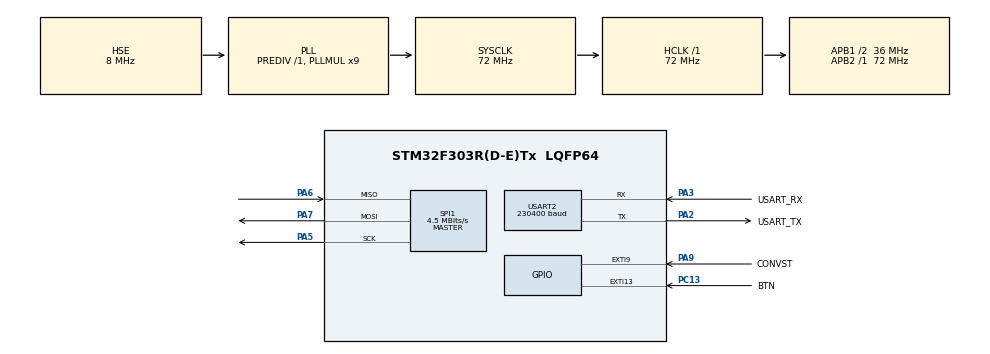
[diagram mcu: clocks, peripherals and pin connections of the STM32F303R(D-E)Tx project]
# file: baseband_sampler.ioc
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Mcu.Family=STM32F3
Mcu.Name=STM32F303R(D-E)Tx
Mcu.Package=LQFP64
NVIC.EXTI15_10_IRQn=true\:0\:0\:false\:false\:true\:true\:true\:true
NVIC.EXTI9_5_IRQn=true\:0\:0\:false\:false\:true\:true\:true\:true
NVIC.PriorityGroup=NVIC_PRIORITYGROUP_0
NVIC.USART2_IRQn=true\:0\:0\:false\:false\:true\:true\:true\:true
PA13.GPIO_Label=TMS
PA13.Mode=Serial_Wire
PA13.Signal=SYS_JTMS-SWDIO
PA14.GPIO_Label=TCK
PA14.Mode=Serial_Wire
PA14.Signal=SYS_JTCK-SWCLK
PA2.GPIO_Label=USART_TX
PA2.GPIO_Mode=GPIO_MODE_AF_PP
PA2.GPIO_PuPd=GPIO_NOPULL
PA2.GPIO_Speed=GPIO_SPEED_FREQ_HIGH
PA2.Mode=Asynchronous
PA2.Signal=USART2_TX
PA3.GPIO_Label=USART_RX
PA3.GPIO_Mode=GPIO_MODE_AF_PP
PA3.GPIO_PuPd=GPIO_NOPULL
PA3.GPIO_Speed=GPIO_SPEED_FREQ_HIGH
PA3.Mode=Asynchronous
PA3.Signal=USART2_RX
PA5.Mode=Full_Duplex_Master
PA5.Signal=SPI1_SCK
PA6.Mode=Full_Duplex_Master
PA6.Signal=SPI1_MISO
PA7.Mode=Full_Duplex_Master
PA7.Signal=SPI1_MOSI
PA9.GPIO_Label=CONVST
PA9.GPIO_ModeDefaultEXTI=GPIO_MODE_IT_RISING_FALLING
PA9.Signal=GPXTI9
PC13.GPIO_Label=BTN
PC13.GPIO_ModeDefaultEXTI=GPIO_MODE_IT_RISING_FALLING
PC13.Signal=GPXTI13
PC14-OSC32_IN.Mode=LSE-External-Oscillator
PC14-OSC32_IN.Signal=RCC_OSC32_IN
PC15-OSC32_OUT.Mode=LSE-External-Oscillator
PC15-OSC32_OUT.Signal=RCC_OSC32_OUT
PF0-OSC_IN.Mode=HSE-External-Clock-Source
PF0-OSC_IN.Signal=RCC_OSC_IN
ProjectManager.HeapSize=0x2000
ProjectManager.StackSize=0x4000
ProjectManager.TargetToolchain=STM32CubeIDE
RCC.AHBFreq_Value=72000000
RCC.APB1CLKDivider=RCC_HCLK_DIV2
RCC.APB1Freq_Value=36000000
RCC.APB1TimFreq_Value=72000000
RCC.APB2Freq_Value=72000000
RCC.APB2TimFreq_Value=72000000
RCC.CortexFreq_Value=72000000
RCC.HCLKFreq_Value=72000000
RCC.HSE_VALUE=8000000
RCC.HSI_VALUE=8000000
RCC.PLLM=8
RCC.PLLMUL=RCC_PLL_MUL9
RCC.PLLN=336
RCC.PLLP=RCC_PLLP_DIV4
RCC.PLLQ=7
RCC.PLLSourceVirtual=RCC_PLLSOURCE_HSE
RCC.RCC_PLLsource_Clock_Source_FROM_HSE=RCC_HSE_PREDIV_DIV2
RCC.SYSCLKFreq_VALUE=72000000
RCC.SYSCLKSourceVirtual=RCC_SYSCLKSOURCE_PLLCLK
RCC.USBFreq_Value=72000000
RCC.Usart2ClockSelection=RCC_USART2CLKSOURCE_SYSCLK
SPI1.BaudRatePrescaler=SPI_BAUDRATEPRESCALER_16
SPI1.CalculateBaudRate=4.5 MBits/s
SPI1.DataSize=SPI_DATASIZE_8BIT
SPI1.Direction=SPI_DIRECTION_2LINES
SPI1.Mode=SPI_MODE_MASTER
SPI1.NSSPMode=SPI_NSS_PULSE_DISABLE
SPI1.VirtualType=VM_MASTER
USART2.BaudRate=230400
USART2.Mode=MODE_TX_RX
USART2.OneBitSampling=UART_ONE_BIT_SAMPLE_DISABLE
USART2.OverSampling=UART_OVERSAMPLING_8
USART2.VirtualMode-Asynchronous=VM_ASYNC
board=NUCLEO-F303RE

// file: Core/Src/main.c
/* USER CODE BEGIN Header */
/**
  ******************************************************************************
  * @file           : main.c
  * @brief          : Main program body
  ******************************************************************************
  * @attention
  *
  * Copyright (c) 2022 STMicroelectronics.
  * All rights reserved.
  *
  * This software is licensed under terms that can be found in the LICENSE file
  * in the root directory of this software component.
  * If no LICENSE file comes with this software, it is provided AS-IS.
  *
  ******************************************************************************
  */
/* USER CODE END Header */
#include "main.h"

/* USER CODE BEGIN Includes */
#include <string.h>
/* USER CODE END Includes */

/* USER CODE BEGIN PD */
#define NUM_SAMPLES		19200
/* USER CODE END PD */

SPI_HandleTypeDef hspi1;

UART_HandleTypeDef huart2;

/* USER CODE BEGIN PV */
uint8_t cal[128];
uint8_t val[2];

uint16_t data[NUM_SAMPLES];

uint8_t cal_pending=0;
uint8_t sampling=0;
uint8_t ready=0;
volatile uint8_t done=0;
uint32_t cnt=0;
/* USER CODE END PV */

void SystemClock_Config(void);
static void MX_GPIO_Init(void);
static void MX_USART2_UART_Init(void);
static void MX_SPI1_Init(void);

/* USER CODE BEGIN 0 */
void HAL_GPIO_EXTI_Callback(uint16_t GPIO_Pin)
{
	//CONVST
	if(HAL_GPIO_ReadPin(CONVST_GPIO_Port, CONVST_Pin)==0 && sampling && ready)
	{
		HAL_SPI_Receive(&hspi1, val, 2, 1);
		data[cnt]=(val[1]<<8)|val[0];
		cnt++;

		if(cnt>=NUM_SAMPLES)
		{
			sampling=0;
			cnt=0;
			done=1;
		}
	}

	//blue button
	else if(HAL_GPIO_ReadPin(BTN_GPIO_Port, BTN_Pin)==0)
	{
		cal_pending=1;
		//sampling=1;
	}
}

void HAL_UART_RxCpltCallback(UART_HandleTypeDef *huart)
{
	if(sampling==0 && done==0 && cnt==0)
		sampling=1;
	HAL_UART_Receive_IT(&huart2, cal, 1); //destination doesnt matter
}
/* USER CODE END 0 */

int main(void)
{

  /* MCU Configuration--------------------------------------------------------*/

  /* Reset of all peripherals, Initializes the Flash interface and the Systick. */
  HAL_Init();

  /* Configure the system clock */
  SystemClock_Config();

  /* Initialize all configured peripherals */
  MX_GPIO_Init();
  MX_USART2_UART_Init();
  MX_SPI1_Init();
  /* USER CODE BEGIN 2 */
  memset((uint8_t*)cal, 0xAA, 128);
  cal_pending=1;
  HAL_Delay(250);
  HAL_UART_Receive_IT(&huart2, cal, 1); //destination doesnt matter

  /* USER CODE END 2 */

  /* Infinite loop */
  /* USER CODE BEGIN WHILE */
  while (1)
  {
	  if(cal_pending)
	  {
		  HAL_SPI_Transmit(&hspi1, cal, 128, 1000);
		  HAL_Delay(750);

		  cal_pending=0;
		  ready=1;
	  }
	  if(done)
	  {
		  HAL_UART_Transmit(&huart2, (uint8_t*)data, NUM_SAMPLES*2, 3000);
		  done=0;
	  }
    /* USER CODE END WHILE */

  }
}

void SystemClock_Config(void)
{
  RCC_OscInitTypeDef RCC_OscInitStruct = {0};
  RCC_ClkInitTypeDef RCC_ClkInitStruct = {0};
  RCC_PeriphCLKInitTypeDef PeriphClkInit = {0};

  /** Initializes the RCC Oscillators according to the specified parameters
  * in the RCC_OscInitTypeDef structure.
  */
  RCC_OscInitStruct.OscillatorType = RCC_OSCILLATORTYPE_HSE;
  RCC_OscInitStruct.HSEState = RCC_HSE_BYPASS;
  RCC_OscInitStruct.HSIState = RCC_HSI_ON;
  RCC_OscInitStruct.PLL.PLLState = RCC_PLL_ON;
  RCC_OscInitStruct.PLL.PLLSource = RCC_PLLSOURCE_HSE;
  RCC_OscInitStruct.PLL.PLLMUL = RCC_PLL_MUL9;
  RCC_OscInitStruct.PLL.PREDIV = RCC_PREDIV_DIV1;
  if (HAL_RCC_OscConfig(&RCC_OscInitStruct) != HAL_OK)
  {
    Error_Handler();
  }

  /** Initializes the CPU, AHB and APB buses clocks
  */
  RCC_ClkInitStruct.ClockType = RCC_CLOCKTYPE_HCLK|RCC_CLOCKTYPE_SYSCLK
                              |RCC_CLOCKTYPE_PCLK1|RCC_CLOCKTYPE_PCLK2;
  RCC_ClkInitStruct.SYSCLKSource = RCC_SYSCLKSOURCE_PLLCLK;
  RCC_ClkInitStruct.AHBCLKDivider = RCC_SYSCLK_DIV1;
  RCC_ClkInitStruct.APB1CLKDivider = RCC_HCLK_DIV2;
  RCC_ClkInitStruct.APB2CLKDivider = RCC_HCLK_DIV1;

  if (HAL_RCC_ClockConfig(&RCC_ClkInitStruct, FLASH_LATENCY_2) != HAL_OK)
  {
    Error_Handler();
  }
  PeriphClkInit.PeriphClockSelection = RCC_PERIPHCLK_USART2;
  PeriphClkInit.Usart2ClockSelection = RCC_USART2CLKSOURCE_SYSCLK;
  if (HAL_RCCEx_PeriphCLKConfig(&PeriphClkInit) != HAL_OK)
  {
    Error_Handler();
  }
}

static void MX_SPI1_Init(void)
{

  /* SPI1 parameter configuration*/
  hspi1.Instance = SPI1;
  hspi1.Init.Mode = SPI_MODE_MASTER;
  hspi1.Init.Direction = SPI_DIRECTION_2LINES;
  hspi1.Init.DataSize = SPI_DATASIZE_8BIT;
  hspi1.Init.CLKPolarity = SPI_POLARITY_LOW;
  hspi1.Init.CLKPhase = SPI_PHASE_1EDGE;
  hspi1.Init.NSS = SPI_NSS_SOFT;
  hspi1.Init.BaudRatePrescaler = SPI_BAUDRATEPRESCALER_16;
  hspi1.Init.FirstBit = SPI_FIRSTBIT_MSB;
  hspi1.Init.TIMode = SPI_TIMODE_DISABLE;
  hspi1.Init.CRCCalculation = SPI_CRCCALCULATION_DISABLE;
  hspi1.Init.CRCPolynomial = 7;
  hspi1.Init.CRCLength = SPI_CRC_LENGTH_DATASIZE;
  hspi1.Init.NSSPMode = SPI_NSS_PULSE_DISABLE;
  if (HAL_SPI_Init(&hspi1) != HAL_OK)
  {
    Error_Handler();
  }

}

static void MX_USART2_UART_Init(void)
{

  huart2.Instance = USART2;
  huart2.Init.BaudRate = 230400;
  huart2.Init.WordLength = UART_WORDLENGTH_8B;
  huart2.Init.StopBits = UART_STOPBITS_1;
  huart2.Init.Parity = UART_PARITY_NONE;
  huart2.Init.Mode = UART_MODE_TX_RX;
  huart2.Init.HwFlowCtl = UART_HWCONTROL_NONE;
  huart2.Init.OverSampling = UART_OVERSAMPLING_8;
  huart2.Init.OneBitSampling = UART_ONE_BIT_SAMPLE_DISABLE;
  huart2.AdvancedInit.AdvFeatureInit = UART_ADVFEATURE_NO_INIT;
  if (HAL_UART_Init(&huart2) != HAL_OK)
  {
    Error_Handler();
  }

}

static void MX_GPIO_Init(void)
{
  GPIO_InitTypeDef GPIO_InitStruct = {0};

  /* GPIO Ports Clock Enable */
  __HAL_RCC_GPIOC_CLK_ENABLE();
  __HAL_RCC_GPIOF_CLK_ENABLE();
  __HAL_RCC_GPIOA_CLK_ENABLE();

  /*Configure GPIO pin : BTN_Pin */
  GPIO_InitStruct.Pin = BTN_Pin;
  GPIO_InitStruct.Mode = GPIO_MODE_IT_RISING_FALLING;
  GPIO_InitStruct.Pull = GPIO_NOPULL;
  HAL_GPIO_Init(BTN_GPIO_Port, &GPIO_InitStruct);

  /*Configure GPIO pin : CONVST_Pin */
  GPIO_InitStruct.Pin = CONVST_Pin;
  GPIO_InitStruct.Mode = GPIO_MODE_IT_RISING_FALLING;
  GPIO_InitStruct.Pull = GPIO_NOPULL;
  HAL_GPIO_Init(CONVST_GPIO_Port, &GPIO_InitStruct);

  /* EXTI interrupt init*/
  HAL_NVIC_SetPriority(EXTI9_5_IRQn, 0, 0);
  HAL_NVIC_EnableIRQ(EXTI9_5_IRQn);

  HAL_NVIC_SetPriority(EXTI15_10_IRQn, 0, 0);
  HAL_NVIC_EnableIRQ(EXTI15_10_IRQn);

}

void Error_Handler(void)
{
  __disable_irq();
  while (1)
  {
  }
}
